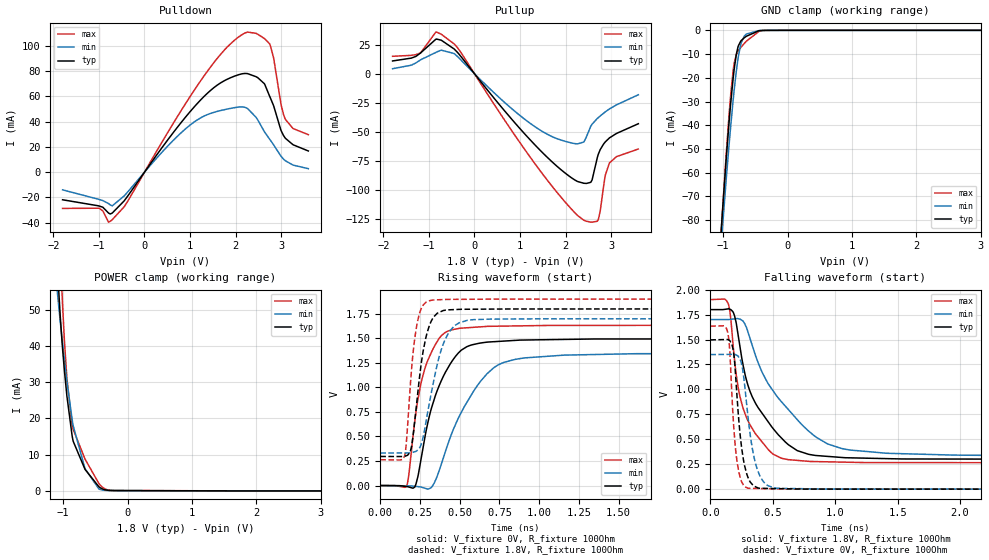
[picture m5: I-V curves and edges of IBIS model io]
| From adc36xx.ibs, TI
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|   io Model
[Model]   io
Model_type   I/O
Polarity   Non-Inverting
Enable   Active-Low
Vinl = 0.54
Vinh = 1.26
Vmeas = 0.9
Vref = 0
Cref = 2pF
Rref = 100000
|   typ   min   max
C_comp   8.6226E-13   7.7919E-13   9.4984E-13
|C_comp_pullup   5.9108E-13   4.8266E-13   7.3392E-13
|C_comp_pulldown   5.8836E-13   4.7823E-13   7.2718E-13
[Model spec]
|subparameter
Vinl   0.54   0.51   0.57
Vinh   1.26   1.19   1.33
| Where Nom  PVT is Nominal Process, 1.8V, 25C
|   Fast PVT is Strong Process,  1.9V, -40C
|   Slow PVT is Weak Process,   1.7V, 125C
[Voltage Range]   1.8   1.7   1.9
|Junction Temperature
[Temperature Range]   25   125   -40
[Pullup Reference]   1.8   1.7   1.9
[Pulldown Reference]   0   0   0
[Power Clamp Reference]   1.8   1.7   1.9
[GND Clamp Reference]   0   0   0
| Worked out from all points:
|   slope of the pulldown table from 0 to 0.27 V, typ, clamps not added: 19.7 ohm
|   slope of the pullup table from 0 to 0.27 V, typ, clamps not added: 20.3 ohm
|   GND clamp passes 1 mA (typ) near -0.51 V on its own axis
|   POWER clamp passes 1 mA (typ) near -0.43 V on its own axis
|   falling waveform, V_fixture 1.8V, R_fixture 100Ohm: 20-80 % time 281ps typ, 428ps min, 171ps max; typ from 1.8 V to 0.296 V
|   rising waveform, V_fixture 0V, R_fixture 100Ohm: 20-80 % time 165ps typ, 245ps min, 113ps max; typ from 0 V to 1.5 V
|   rising waveform, V_fixture 1.8V, R_fixture 100Ohm: 20-80 % time 73.1ps typ, 110ps min, 52.6ps max; typ from 0.296 V to 1.8 V
|   falling waveform, V_fixture 0V, R_fixture 100Ohm: 20-80 % time 65.3ps typ, 88ps min, 49.8ps max; typ from 1.5 V to 0 V
[Pulldown]
|   Voltage   I(typ)   I(min)   I(max)
-1.8V     -21.82mA   -13.98mA   -28.66mA
-1.012V   -26.61mA   -21.41mA   -28.49mA
-790.2mV  -32.31mA   -24.81mA   -39.56mA
-709.2mV  -32.35mA   -26.64mA   -37.58mA
-444.6mV  -22.62mA   -18.75mA   -27.3mA
1.067V    50.59mA    39.07mA    63.41mA
1.672V    70.63mA    48.75mA    93.22mA
2.25V     78.03mA    50.64mA    110.7mA
2.633V    70.01mA    32.1mA     105.7mA
2.747V    60.33mA    26.25mA    101.6mA
3.087V    27.26mA    9.296mA    42.53mA
3.6V      16.77mA    2.784mA    29.67mA
[GND Clamp]
|   Voltage   I(typ)   I(min)   I(max)
-1.8V     -444.1mA   -419.6mA   -462.5mA
-1.033V   -85.59mA   -91.25mA   -86.16mA
-1.017V   -79mA      -85.39mA   -79.06mA
-1.012V   -76.84mA   -83.45mA   -76.72mA
-909mV    -39.02mA   -48.6mA    -35.88mA
-844.2mV  -20.08mA   -29.28mA   -16.84mA
-795.6mV  -10.13mA   -17.21mA   -10.2mA
-763.2mV  -6.481mA   -10.91mA   -8.521mA
-720mV    -4.328mA   -5.328mA   -7.034mA
-639mV    -2.494mA   -1.564mA   -4.566mA
-352.8mV  -30.34uA   -29.8uA    -51.91uA
3.6V      0A         0A         0A
[Pullup]
|   Voltage   I(typ)   I(min)   I(max)
-1.8V     10.92mA    4.239mA    14.95mA
-1.184V   17.81mA    11.9mA     17.84mA
-849.6mV  29.6mA     18.23mA    35.76mA
-444.6mV  21.17mA    17.27mA    25.55mA
1.445V    -66.1mA    -48.69mA   -83.77mA
2.207V    -91.63mA   -60.28mA   -119.9mA
2.461V    -94.55mA   -54.35mA   -127.1mA
2.585V    -91.42mA   -43.47mA   -127.9mA
2.714V    -70.2mA    -38.07mA   -126.1mA
2.876V    -58.69mA   -32.85mA   -87.25mA
2.968V    -55.26mA   -30.32mA   -76.79mA
3.6V      -43.15mA   -18.2mA    -64.93mA
[POWER Clamp]
|   Voltage   I(typ)   I(min)   I(max)
-1.8V     466.5mA    368mA      540.4mA
-1.087V   61.15mA    54.37mA    87.04mA
-1.076V   57.55mA    52.37mA    81.54mA
-1.044V   47.9mA     46.62mA    66.02mA
-1.017V   41.07mA    42.05mA    54.52mA
-979.2mV  32.97mA    35.96mA    41.12mA
-941.4mV  26.14mA    30.25mA    31.02mA
-860.4mV  15.2mA     19.72mA    18.31mA
-660.6mV  5.962mA    6.149mA    8.804mA
-444.6mV  1.146mA    543.7uA    2.043mA
-228.6mV  106.3uA    84.85uA    137.9uA
3.6V      0A         0A         0A
[Ramp]
R_load = 100
|   typ   min   max
dV/dt_r   0.897785/1.64646e-10   0.809426/2.45081e-10   0.980416/1.12626e-10
dV/dt_f   0.902328/2.81413e-10   0.821271/4.28372e-10   0.982368/1.69256e-10
[Falling Waveform]
V_fixture = 1.8V
V_fixture_min = 1.7V
V_fixture_max = 1.9V
R_fixture = 100Ohm
C_fixture = 0F
|   Time   V(typ)   V(min)   V(max)
0s        1.8V       1.7V       1.9V
145.2ps   1.808V     1.7V       1.855V
182.7ps   1.775V     1.705V     1.447V
229.6ps   1.493V     1.707V     977.5mV
297.6ps   1.059V     1.591V     697.4mV
417.4ps   756.7mV    1.166V     469.6mV
569ps     513.9mV    877.3mV    310.6mV
850.7ps   336.9mV    518.4mV    276.3mV
1.118ns   314.2mV    392.4mV    269.7mV
5ns       296.1mV    331.2mV    262.7mV
[Rising Waveform]
V_fixture = 0V
V_fixture_min = 0V
V_fixture_max = 0V
R_fixture = 100Ohm
C_fixture = 0F
|   Time   V(typ)   V(min)   V(max)
0s        417.8nV    1.787uV    653.8nV
165.8ps   -10.25mV   -3.307mV   -5.164mV
216.9ps   -15.25mV   -7.601mV   652mV
250.1ps   209.3mV    -13.71mV   993.7mV
297.6ps   627.2mV    -35.75mV   1.27V
370.9ps   1.019V     153.4mV    1.5V
466.2ps   1.3V       595.3mV    1.593V
671.8ps   1.461V     1.139V     1.622V
913.6ps   1.483V     1.301V     1.628V
5ns       1.496V     1.349V     1.634V
[Rising Waveform]
V_fixture = 1.8V
V_fixture_min = 1.7V
V_fixture_max = 1.9V
R_fixture = 100Ohm
C_fixture = 0F
|   Time   V(typ)   V(min)   V(max)
0s        296.1mV    331.2mV    262.7mV
151.7ps   296.9mV    332.2mV    294.3mV
163.1ps   303.6mV    332.2mV    419.1mV
188.8ps   347.6mV    332.4mV    1.014V
214.6ps   621.6mV    342.9mV    1.468V
244.2ps   1.067V     378.1mV    1.739V
315.6ps   1.656V     897mV      1.886V
409.1ps   1.787V     1.491V     1.896V
566.6ps   1.796V     1.687V     1.898V
5ns       1.8V       1.7V       1.9V
[Falling Waveform]
|Gnd
V_fixture = 0V
V_fixture_min = 0V
V_fixture_max = 0V
R_fixture = 100Ohm
C_fixture = 0F
|   Time   V(typ)   V(min)   V(max)
0s        1.496V     1.349V     1.634V
134.7ps   1.5V       1.351V     1.593V
153.6ps   1.491V     1.351V     1.431V
176ps     1.438V     1.351V     875.8mV
217.9ps   861.9mV    1.338V     246.9mV
255.5ps   376.4mV    1.229V     63.8mV
297.6ps   132.4mV    778.2mV    11.56mV
375.9ps   16.03mV    199.9mV    6.999mV
529.8ps   5.635mV    9.184mV    3.063mV
5ns       416.9nV    1.671uV    653.9nV
